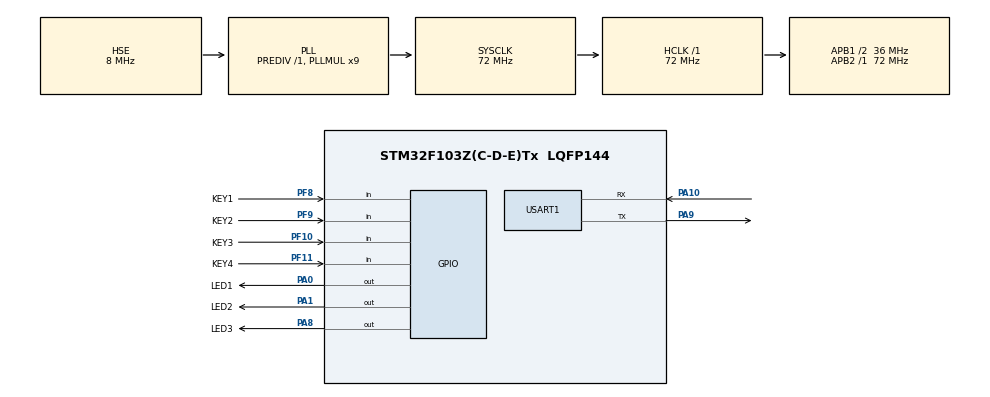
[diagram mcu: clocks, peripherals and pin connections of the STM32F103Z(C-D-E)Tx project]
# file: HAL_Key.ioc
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Mcu.Family=STM32F1
Mcu.Name=STM32F103Z(C-D-E)Tx
Mcu.Package=LQFP144
NVIC.PriorityGroup=NVIC_PRIORITYGROUP_4
NVIC.TIM7_IRQn=true\:1\:0\:true\:false\:true\:false\:true\:true
NVIC.TimeBase=TIM7_IRQn
NVIC.TimeBaseIP=TIM7
NVIC.USART1_IRQn=true\:0\:0\:false\:false\:true\:true\:true\:true
OSC_IN.Mode=HSE-External-Oscillator
OSC_IN.Signal=RCC_OSC_IN
OSC_OUT.Mode=HSE-External-Oscillator
OSC_OUT.Signal=RCC_OSC_OUT
PA0-WKUP.GPIO_Label=LED1
PA0-WKUP.GPIO_Speed=GPIO_SPEED_FREQ_HIGH
PA0-WKUP.PinState=GPIO_PIN_SET
PA0-WKUP.Signal=GPIO_Output
PA1.GPIO_Label=LED2
PA1.GPIO_Speed=GPIO_SPEED_FREQ_HIGH
PA1.PinState=GPIO_PIN_SET
PA1.Signal=GPIO_Output
PA10.Mode=Asynchronous
PA10.Signal=USART1_RX
PA13.Mode=Serial_Wire
PA13.Signal=SYS_JTMS-SWDIO
PA14.Mode=Serial_Wire
PA14.Signal=SYS_JTCK-SWCLK
PA8.GPIO_Label=LED3
PA8.GPIO_Speed=GPIO_SPEED_FREQ_HIGH
PA8.PinState=GPIO_PIN_SET
PA8.Signal=GPIO_Output
PA9.Mode=Asynchronous
PA9.Signal=USART1_TX
PC14-OSC32_IN.Mode=LSE-External-Oscillator
PC14-OSC32_IN.Signal=RCC_OSC32_IN
PC15-OSC32_OUT.Mode=LSE-External-Oscillator
PC15-OSC32_OUT.Signal=RCC_OSC32_OUT
PF10.GPIO_Label=KEY3
PF10.GPIO_PuPd=GPIO_PULLDOWN
PF10.Signal=GPIO_Input
PF11.GPIO_Label=KEY4
PF11.GPIO_PuPd=GPIO_PULLDOWN
PF11.Signal=GPIO_Input
PF8.GPIO_Label=KEY1
PF8.GPIO_PuPd=GPIO_PULLUP
PF8.Signal=GPIO_Input
PF9.GPIO_Label=KEY2
PF9.GPIO_PuPd=GPIO_PULLUP
PF9.Signal=GPIO_Input
ProjectManager.HeapSize=0x200
ProjectManager.StackSize=0x400
ProjectManager.TargetToolchain=MDK-ARM V5.32
RCC.AHBFreq_Value=72000000
RCC.APB1CLKDivider=RCC_HCLK_DIV2
RCC.APB1Freq_Value=36000000
RCC.APB1TimFreq_Value=72000000
RCC.APB2Freq_Value=72000000
RCC.APB2TimFreq_Value=72000000
RCC.HCLKFreq_Value=72000000
RCC.PLLMUL=RCC_PLL_MUL9
RCC.PLLSourceVirtual=RCC_PLLSOURCE_HSE
RCC.SYSCLKFreq_VALUE=72000000
RCC.SYSCLKSource=RCC_SYSCLKSOURCE_PLLCLK
RCC.USBFreq_Value=72000000
USART1.VirtualMode=VM_ASYNC
VP_SYS_VS_tim7.Mode=TIM7
board=custom

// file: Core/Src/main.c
/* USER CODE BEGIN Header */
/**
 ******************************************************************************
 * @file           : main.c
 * @brief          : Main program body
 ******************************************************************************
 * @attention
 *
 * Copyright (c) 2023 STMicroelectronics.
 * All rights reserved.
 *
 * This software is licensed under terms that can be found in the LICENSE file
 * in the root directory of this software component.
 * If no LICENSE file comes with this software, it is provided AS-IS.
 *
 ******************************************************************************
 */
/* USER CODE END Header */
#include "main.h"
#include "usart.h"
#include "gpio.h"
#include "sys.h"
#include "delay.h"
#include "usart.h"
#include "led.h"
#include "FreeRTOS.h"
#include "task.h"
#include "key.h"
#include "pwm.h"
#include "event_groups.h"
#include "lcd.h"
#include "touch.h"
#include "rc52.h"
#include "usart2.h"
#include "AS608.h"
#include "beep.h"
#include "esp8266.h"
#include "usart3.h"
#include "string.h"

/* USER CODE BEGIN Includes */
#include "FreeRTOS_Demo.h"
/* USER CODE END Includes */

void SystemClock_Config(void);

int main(void)
{

  /* MCU Configuration--------------------------------------------------------*/

  /* Reset of all peripherals, Initializes the Flash interface and the Systick. */
  HAL_Init();

  /* USER CODE BEGIN Init */
  NVIC_PriorityGroupConfig(NVIC_PriorityGroup_2); //设置系统中断优先级分组4
  delay_init(168);					                      //初始化延时函数
  uart_init(115200);     				                  //初始化串口
  usart3_init(115200);                            //初始化串口3波特率为115200
  LED_Init();		        			                    //初始化LED端口
  KEY_Init();							                        //初始化按键
  TIM14_PWM_Init(40000-1,42-1);
  set_Angle(0);
  LCD_Init();							                       //初始化LCD
  tp_dev.init();			                           //初始化触摸屏
  RC522_Init();
  usart2_init(57600);                            //初始化串口2,用于与指纹模块通讯
  PS_StaGPIO_Init();	                           //初始化FR读状态引脚
  AS608_Init();
  BEEP_Init();
  esp8266_start_trans();

  /* USER CODE END Init */

  /* Configure the system clock */
  SystemClock_Config();

  /* Initialize all configured peripherals */
  MX_GPIO_Init();
  MX_USART1_UART_Init();
  /* USER CODE BEGIN 2 */
  (!(tp_dev.touchtype&0x80))//如果是电阻屏
	{
		LCD_ShowString(0,30,200,16,16,"Adjust the LCD ?");
		POINT_COLOR=BLUE;
		LCD_ShowString(0,60,200,16,16,"yes:KEY1 no:KEY0");
		while(1)
		{
key=KEY_Scan(0);
if(key==KEY0_PRES)
	break;
if(key==KEY1_PRES)
{
	LCD_Clear(WHITE);
	TP_Adjust();  	 //屏幕校准
	TP_Save_Adjdata();//保存校准参数
	break;
}
		}
}

	AS608_load_keyboard(0,170,(u8**)kbd_menu);//加载虚拟键盘

	Chinese_Show_one(65,0,0,16,0);
	Chinese_Show_one(85,0,2,16,0);
	Chinese_Show_one(105,0,4,16,0);
	Chinese_Show_one(125,0,6,16,0);
	Chinese_Show_one(145,0,8,16,0);
	Chinese_Show_one(165,0,10,16,0);

  freertos_start();//freertos开始运行
  /* USER CODE END 2 */

}

void SystemClock_Config(void)
{
  RCC_OscInitTypeDef RCC_OscInitStruct = {0};
  RCC_ClkInitTypeDef RCC_ClkInitStruct = {0};

  /** Initializes the RCC Oscillators according to the specified parameters
  * in the RCC_OscInitTypeDef structure.
  */
  RCC_OscInitStruct.OscillatorType = RCC_OSCILLATORTYPE_HSE;
  RCC_OscInitStruct.HSEState = RCC_HSE_ON;
  RCC_OscInitStruct.HSEPredivValue = RCC_HSE_PREDIV_DIV1;
  RCC_OscInitStruct.HSIState = RCC_HSI_ON;
  RCC_OscInitStruct.PLL.PLLState = RCC_PLL_ON;
  RCC_OscInitStruct.PLL.PLLSource = RCC_PLLSOURCE_HSE;
  RCC_OscInitStruct.PLL.PLLMUL = RCC_PLL_MUL9;
  if (HAL_RCC_OscConfig(&RCC_OscInitStruct) != HAL_OK)
  {
    Error_Handler();
  }

  /** Initializes the CPU, AHB and APB buses clocks
  */
  RCC_ClkInitStruct.ClockType = RCC_CLOCKTYPE_HCLK|RCC_CLOCKTYPE_SYSCLK
                              |RCC_CLOCKTYPE_PCLK1|RCC_CLOCKTYPE_PCLK2;
  RCC_ClkInitStruct.SYSCLKSource = RCC_SYSCLKSOURCE_PLLCLK;
  RCC_ClkInitStruct.AHBCLKDivider = RCC_SYSCLK_DIV1;
  RCC_ClkInitStruct.APB1CLKDivider = RCC_HCLK_DIV2;
  RCC_ClkInitStruct.APB2CLKDivider = RCC_HCLK_DIV1;

  if (HAL_RCC_ClockConfig(&RCC_ClkInitStruct, FLASH_LATENCY_2) != HAL_OK)
  {
    Error_Handler();
  }
}

void HAL_TIM_PeriodElapsedCallback(TIM_HandleTypeDef *htim)
{
  if (htim->Instance == TIM7) {
    HAL_IncTick();
  }
}

void Error_Handler(void)
{
    __disable_irq();
    while (1)
    {
    }
}
